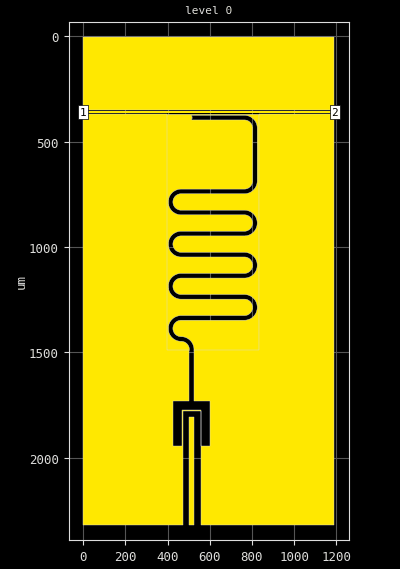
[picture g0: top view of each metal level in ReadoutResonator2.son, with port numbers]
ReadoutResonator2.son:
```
FTYP SONPROJ 15 ! Sonnet Project File
VER 16.52
HEADER
LIC calt2.2.43068 b6ae2bd1257f DESKTOP-SL82IK9 Michael
DAT 07/20/2016 20:02:26
BUILT_BY_CREATED xgeom 16.52 04/11/2016 14:48:12
BUILT_BY_SAVED xgeom 16.52
MDATE 07/20/2016 20:02:26
HDATE 07/20/2016 20:02:26
END HEADER
DIM
FREQ GHZ
IND NH
LNG UM
ANG DEG
CON /OH
CAP PF
RES OH
END DIM
FREQ
ABS 7.0 8.5 
END FREQ
CONTROL
ABS
OPTIONS  -dj 
SPEED 0
CACHE_ABS 1
TARG_ABS 300
Q_ACC Y
DET_ABS_RES Y
END CONTROL
GEO
TMET "Lossless" 0 SUP 0 0 0 0
BMET "Lossless" 0 SUP 0 0 0 0
MET "Unknown_metal" 1 NOR INF 0 0 
BOX 1 1192 2320 1192 2320 20 0
      1000 1 1 0 0 0 0 "Unnamed"
      500 11.9 1 5e-006 0 0 0 "Silicon (intrinsic)"
LORGN 0 2320 U 
POR1 STD
POLY 10 1
1
1 50 0 0 0 0 359 
POR1 STD
POLY 10 1
3
2 50 0 0 0 1191.999909 359 
NUM 5
0 5 -1 N 10 1 1 100 100 0 0 0 Y
1191.999909 354
0 354
0 364
1191.999909 364
1191.999909 354
END
0 5 -1 N 13 1 1 100 100 0 0 0 Y
1191 3
0 3
0 348
1191 348
1191 3
END
0 5 -1 N 14 1 1 100 100 0 0 0 Y
526 1806
502 1806
502 2319
526 2319
526 1806
END
0 2186 -1 T 20 1 1 100 100 0 0 0 Y
834 370
396 370
396 1490
503 1490
503 1488.55
503 1486
503 1485.37
502.98 1484.75
502.96 1484.12
502.92 1483.5
502.88 1482.88
502.82 1482.25
502.76 1481.63
502.68 1481.01
502.6 1480.39
502.5 1479.78
502.4 1479.16
502.28 1478.54
502.16 1477.93
502.02 1477.32
501.88 1476.71
501.73 1476.11
501.56 1475.5
501.39 1474.9
501.21 1474.31
501.01 1473.71
500.81 1473.12
500.6 1472.53
500.38 1471.94
500.15 1471.36
499.91 1470.79
499.66 1470.21
499.4 1469.64
499.14 1469.08
498.86 1468.52
498.58 1467.96
498.28 1467.41
497.98 1466.86
497.67 1466.32
497.35 1465.78
497.02 1465.25
496.69 1464.72
496.34 1464.2
495.99 1463.69
495.63 1463.18
495.26 1462.67
494.88 1462.17
494.49 1461.68
494.1 1461.2
493.7 1460.72
493.29 1460.24
492.87 1459.78
492.45 1459.32
492.02 1458.87
491.58 1458.42
491.13 1457.98
490.68 1457.55
490.22 1457.13
489.76 1456.71
489.28 1456.3
488.8 1455.9
488.32 1455.51
487.82 1455.12
487.33 1454.74
486.82 1454.37
486.31 1454.01
485.8 1453.66
485.28 1453.31
484.75 1452.98
484.22 1452.65
483.68 1452.33
483.14 1452.02
482.59 1451.72
482.04 1451.42
481.48 1451.14
480.92 1450.86
480.36 1450.6
479.79 1450.34
479.21 1450.09
478.64 1449.85
478.06 1449.62
477.47 1449.4
476.88 1449.19
476.29 1448.99
475.69 1448.79
475.1 1448.61
474.5 1448.44
473.89 1448.28
473.29 1448.12
472.68 1447.98
472.07 1447.84
471.46 1447.72
470.84 1447.6
470.23 1447.5
469.61 1447.4
468.99 1447.32
468.37 1447.24
467.75 1447.18
467.12 1447.12
466.5 1447.08
465.88 1447.04
465.25 1447.02
464.63 1447
464 1447
462.05 1446.97
460.09 1446.87
458.14 1446.72
456.2 1446.5
454.26 1446.22
452.34 1445.87
450.43 1445.47
448.53 1445
446.64 1444.48
444.78 1443.89
442.93 1443.25
441.11 1442.54
439.31 1441.78
437.53 1440.96
435.79 1440.08
434.07 1439.15
432.38 1438.16
430.72 1437.12
429.1 1436.03
427.52 1434.89
425.97 1433.69
424.46 1432.45
422.99 1431.16
421.56 1429.82
420.18 1428.44
418.84 1427.01
417.55 1425.54
416.31 1424.03
415.12 1422.48
413.97 1420.9
412.88 1419.28
411.84 1417.62
410.85 1415.93
409.92 1414.21
409.04 1412.47
408.22 1410.69
407.46 1408.89
406.75 1407.07
406.11 1405.22
405.52 1403.35
405 1401.47
404.53 1399.57
404.13 1397.66
403.78 1395.74
403.5 1393.8
403.28 1391.86
403.13 1389.91
403.03 1387.95
403 1386
403.03 1384.04
403.13 1382.09
403.28 1380.14
403.5 1378.2
403.78 1376.26
404.13 1374.34
404.53 1372.43
405 1370.53
405.52 1368.64
406.11 1366.78
406.75 1364.93
407.46 1363.11
408.22 1361.31
409.04 1359.53
409.92 1357.78
410.85 1356.07
411.84 1354.38
412.88 1352.72
413.97 1351.1
415.11 1349.51
416.31 1347.97
417.55 1346.46
418.84 1344.99
420.18 1343.56
421.56 1342.18
422.99 1340.84
424.46 1339.55
425.97 1338.31
427.52 1337.11
429.1 1335.97
430.72 1334.88
432.38 1333.83
434.07 1332.85
435.79 1331.92
437.53 1331.04
439.31 1330.22
441.11 1329.46
442.93 1328.75
444.78 1328.11
446.65 1327.52
448.53 1326.99
450.43 1326.53
452.34 1326.12
454.26 1325.78
456.2 1325.5
458.14 1325.28
460.09 1325.12
462.05 1325.03
464 1325
764 1325
765.25 1324.98
766.5 1324.92
767.74 1324.82
768.99 1324.68
770.22 1324.5
771.45 1324.28
772.68 1324.02
773.89 1323.72
775.1 1323.39
776.29 1323.01
777.47 1322.6
778.64 1322.15
779.79 1321.66
780.92 1321.14
782.04 1320.58
783.14 1319.98
784.22 1319.35
785.28 1318.68
786.31 1317.99
787.33 1317.25
788.32 1316.49
789.28 1315.7
790.22 1314.87
791.13 1314.01
792.02 1313.13
792.87 1312.22
793.7 1311.28
794.49 1310.32
795.26 1309.33
795.99 1308.31
796.69 1307.28
797.35 1306.22
797.98 1305.14
798.58 1304.04
799.14 1302.92
799.66 1301.79
800.15 1300.63
800.6 1299.47
801.01 1298.29
801.39 1297.1
801.72 1295.89
802.02 1294.68
802.28 1293.45
802.5 1292.22
802.68 1290.99
802.82 1289.74
802.92 1288.5
802.98 1287.25
803 1286
802.98 1284.75
802.92 1283.5
802.82 1282.25
802.68 1281.01
802.5 1279.78
802.28 1278.54
802.02 1277.32
801.72 1276.11
801.39 1274.9
801.01 1273.71
800.6 1272.53
800.15 1271.36
799.66 1270.21
799.14 1269.08
798.58 1267.96
797.98 1266.86
797.35 1265.78
796.69 1264.72
795.99 1263.69
795.26 1262.67
794.49 1261.68
793.7 1260.72
792.87 1259.78
792.02 1258.87
791.13 1257.98
790.22 1257.13
789.28 1256.3
788.32 1255.51
787.33 1254.74
786.31 1254.01
785.28 1253.31
784.22 1252.65
783.14 1252.02
782.04 1251.42
780.92 1250.86
779.79 1250.34
778.64 1249.85
777.47 1249.4
776.29 1248.99
775.1 1248.61
773.89 1248.28
772.68 1247.98
771.45 1247.72
770.22 1247.5
768.99 1247.32
767.74 1247.18
766.5 1247.08
765.25 1247.02
764 1247
464 1247
462.05 1246.97
460.09 1246.87
458.14 1246.72
456.2 1246.5
454.26 1246.22
452.34 1245.87
450.43 1245.47
448.53 1245
446.65 1244.48
444.78 1243.89
442.93 1243.25
441.11 1242.54
439.31 1241.78
437.53 1240.96
435.79 1240.08
434.07 1239.15
432.38 1238.16
430.72 1237.12
429.1 1236.03
427.52 1234.89
425.97 1233.69
424.46 1232.45
422.99 1231.16
421.56 1229.82
420.18 1228.44
418.84 1227.01
417.55 1225.54
416.31 1224.03
415.11 1222.48
413.97 1220.9
412.88 1219.28
411.84 1217.62
410.85 1215.93
409.92 1214.21
409.04 1212.47
408.22 1210.69
407.46 1208.89
406.75 1207.07
406.11 1205.22
405.52 1203.36
405 1201.47
404.53 1199.57
404.13 1197.66
403.78 1195.73
403.5 1193.8
403.28 1191.86
403.13 1189.91
403.03 1187.95
403 1186
403.03 1184.04
403.13 1182.09
403.28 1180.14
403.5 1178.2
403.78 1176.26
404.13 1174.34
404.53 1172.43
405 1170.53
405.52 1168.64
406.11 1166.78
406.75 1164.93
407.46 1163.11
408.22 1161.31
409.04 1159.53
409.92 1157.78
410.85 1156.07
411.84 1154.38
412.88 1152.72
413.97 1151.1
415.11 1149.51
416.31 1147.97
417.55 1146.46
418.84 1144.99
420.18 1143.56
421.56 1142.18
422.99 1140.84
424.46 1139.55
425.97 1138.31
427.52 1137.11
429.1 1135.97
430.72 1134.88
432.38 1133.83
434.07 1132.85
435.79 1131.92
437.53 1131.04
439.31 1130.22
441.11 1129.46
442.93 1128.75
444.78 1128.11
446.65 1127.52
448.53 1126.99
450.43 1126.53
452.34 1126.12
454.26 1125.78
456.2 1125.5
458.14 1125.28
460.09 1125.12
462.05 1125.03
464 1125
764 1125
765.25 1124.98
766.5 1124.92
767.74 1124.82
768.99 1124.68
770.22 1124.5
771.45 1124.28
772.68 1124.02
773.89 1123.72
775.1 1123.39
776.29 1123.01
777.47 1122.6
778.64 1122.15
779.79 1121.66
780.92 1121.14
782.04 1120.58
783.14 1119.98
784.22 1119.35
785.28 1118.68
786.31 1117.99
787.33 1117.25
788.32 1116.49
789.28 1115.7
790.22 1114.87
791.13 1114.01
792.02 1113.13
792.87 1112.22
793.7 1111.28
794.49 1110.32
795.26 1109.32
795.99 1108.31
796.68 1107.28
797.35 1106.22
797.98 1105.14
798.58 1104.04
799.14 1102.92
799.66 1101.79
800.15 1100.63
800.6 1099.47
801.01 1098.29
801.39 1097.1
801.72 1095.89
802.02 1094.68
802.28 1093.45
802.5 1092.22
802.68 1090.99
802.82 1089.74
802.92 1088.5
802.98 1087.25
803 1086
802.98 1084.75
802.92 1083.5
802.82 1082.25
802.68 1081.01
802.5 1079.78
802.28 1078.54
802.02 1077.32
801.72 1076.11
801.39 1074.9
801.01 1073.71
800.6 1072.53
800.15 1071.36
799.66 1070.21
799.14 1069.08
798.58 1067.96
797.98 1066.86
797.35 1065.78
796.68 1064.72
795.99 1063.69
795.26 1062.67
794.49 1061.68
793.7 1060.72
792.87 1059.78
792.02 1058.87
791.13 1057.98
790.22 1057.13
789.28 1056.3
788.32 1055.51
787.33 1054.74
786.31 1054.01
785.28 1053.31
784.22 1052.65
783.14 1052.02
782.04 1051.42
780.92 1050.86
779.79 1050.34
778.64 1049.85
777.47 1049.4
776.29 1048.99
775.1 1048.61
773.89 1048.28
772.68 1047.98
771.45 1047.72
770.22 1047.5
768.99 1047.32
767.74 1047.18
766.5 1047.08
765.25 1047.02
764 1047
464 1047
462.05 1046.97
460.09 1046.87
458.14 1046.72
456.2 1046.5
454.27 1046.22
452.34 1045.87
450.43 1045.47
448.53 1045
446.65 1044.48
444.78 1043.89
442.93 1043.25
441.11 1042.54
439.31 1041.78
437.53 1040.96
435.79 1040.08
434.07 1039.15
432.38 1038.16
430.72 1037.12
429.1 1036.03
427.52 1034.89
425.97 1033.69
424.46 1032.45
422.99 1031.16
421.56 1029.82
420.18 1028.44
418.84 1027.01
417.55 1025.54
416.31 1024.03
415.11 1022.48
413.97 1020.9
412.88 1019.28
411.84 1017.62
410.85 1015.93
409.92 1014.21
409.04 1012.47
408.22 1010.69
407.46 1008.89
406.75 1007.07
406.11 1005.22
405.52 1003.35
405 1001.47
404.53 999.57
404.13 997.66
403.78 995.74
403.5 993.8
403.28 991.86
403.13 989.91
403.03 987.95
403 986
403.03 984.04
403.13 982.09
403.28 980.14
403.5 978.2
403.78 976.26
404.13 974.34
404.53 972.43
405 970.53
405.52 968.64
406.11 966.78
406.75 964.93
407.46 963.11
408.22 961.31
409.04 959.53
409.92 957.78
410.85 956.07
411.84 954.38
412.88 952.72
413.97 951.1
415.11 949.51
416.31 947.97
417.55 946.46
418.84 944.99
420.18 943.56
421.56 942.18
422.99 940.84
424.46 939.55
425.97 938.31
427.52 937.11
429.1 935.97
430.72 934.88
432.38 933.83
434.07 932.85
435.79 931.92
437.53 931.04
439.31 930.22
441.11 929.46
442.93 928.75
444.78 928.11
446.65 927.52
448.53 926.99
450.43 926.53
452.34 926.12
454.27 925.78
456.2 925.5
458.14 925.28
460.09 925.12
462.05 925.03
464 925
764 925
765.25 924.98
766.5 924.92
767.74 924.82
768.99 924.68
770.22 924.5
771.45 924.28
772.68 924.02
773.89 923.72
775.1 923.39
776.29 923.01
777.47 922.6
778.64 922.15
779.79 921.66
780.92 921.14
782.04 920.58
783.14 919.98
784.22 919.35
785.28 918.68
786.31 917.99
787.33 917.25
788.32 916.49
789.28 915.7
790.22 914.87
791.13 914.01
792.02 913.13
792.87 912.22
793.7 911.28
794.49 910.32
795.26 909.33
795.99 908.31
796.69 907.28
797.35 906.22
797.98 905.14
798.58 904.04
799.14 902.92
799.66 901.79
800.15 900.63
800.6 899.47
801.01 898.29
801.39 897.1
801.72 895.89
802.02 894.68
802.28 893.45
802.5 892.22
802.68 890.99
802.82 889.74
802.92 888.5
802.98 887.25
803 886
802.98 884.75
802.92 883.5
802.82 882.25
802.68 881.01
802.5 879.78
802.28 878.54
802.02 877.32
801.72 876.11
801.39 874.9
801.01 873.71
800.6 872.53
800.15 871.36
799.66 870.21
799.14 869.08
798.58 867.96
797.98 866.86
797.35 865.78
796.69 864.72
795.99 863.69
795.26 862.67
794.49 861.68
793.7 860.72
792.87 859.78
792.02 858.87
791.13 857.98
790.22 857.13
789.28 856.3
788.32 855.51
787.33 854.74
786.31 854.01
785.28 853.31
784.22 852.65
783.14 852.02
782.04 851.42
780.92 850.86
779.79 850.34
778.64 849.85
777.47 849.4
776.29 848.99
775.1 848.61
773.89 848.28
772.68 847.98
771.45 847.72
770.22 847.5
768.99 847.32
767.74 847.18
766.5 847.08
765.25 847.02
764 847
464 847
462.05 846.97
460.09 846.87
458.14 846.72
456.2 846.5
454.26 846.22
452.34 845.87
450.43 845.47
448.53 845
446.65 844.48
444.78 843.89
442.93 843.25
441.11 842.54
439.31 841.78
437.53 840.96
435.79 840.08
434.07 839.15
432.38 838.16
430.72 837.12
429.1 836.03
427.52 834.88
425.97 833.69
424.46 832.45
422.99 831.16
421.56 829.82
420.18 828.44
418.84 827.01
417.55 825.54
416.31 824.03
415.11 822.48
413.97 820.9
412.88 819.28
411.84 817.62
410.85 815.93
409.92 814.21
409.04 812.47
408.22 810.69
407.46 808.89
406.75 807.07
406.11 805.22
405.52 803.35
405 801.47
404.53 799.57
404.13 797.66
403.78 795.74
403.5 793.8
403.28 791.86
403.13 789.91
403.03 787.95
403 786
403.03 784.04
403.13 782.09
403.28 780.14
403.5 778.2
403.78 776.26
404.13 774.34
404.53 772.42
405 770.53
405.52 768.64
406.11 766.78
406.75 764.93
407.46 763.11
408.22 761.31
409.04 759.53
409.92 757.78
410.85 756.07
411.84 754.38
412.88 752.72
413.97 751.1
415.11 749.51
416.31 747.97
417.55 746.46
418.84 744.99
420.18 743.56
421.56 742.18
422.99 740.84
424.46 739.55
425.97 738.31
427.52 737.11
429.1 735.97
430.72 734.88
432.38 733.83
434.07 732.85
435.79 731.92
437.53 731.04
439.31 730.22
441.11 729.46
442.93 728.75
444.78 728.11
446.65 727.52
448.53 726.99
450.43 726.53
452.34 726.12
454.26 725.78
456.2 725.5
458.14 725.28
460.09 725.12
462.05 725.03
464 725
764 725
764.63 724.99
765.25 724.98
765.87 724.95
766.5 724.92
767.12 724.87
767.74 724.82
768.37 724.75
768.99 724.68
769.61 724.59
770.22 724.5
770.84 724.39
771.45 724.28
772.07 724.16
772.68 724.02
773.29 723.88
773.89 723.72
774.5 723.56
775.1 723.39
775.69 723.2
776.29 723.01
776.88 722.81
777.47 722.6
778.05 722.38
778.64 722.15
779.21 721.91
779.79 721.66
780.36 721.4
780.92 721.14
781.48 720.86
782.04 720.58
782.59 720.28
783.14 719.98
783.68 719.67
784.22 719.35
784.75 719.02
785.28 718.68
785.8 718.34
786.31 717.99
786.82 717.62
787.33 717.25
787.82 716.88
788.32 716.49
788.8 716.1
789.28 715.7
789.75 715.29
790.22 714.87
790.68 714.45
791.13 714.02
791.58 713.58
792.02 713.13
792.45 712.68
792.87 712.22
793.29 711.75
793.7 711.28
794.1 710.8
794.49 710.32
794.88 709.82
795.26 709.32
795.63 708.82
795.99 708.31
796.34 707.8
796.69 707.27
797.02 706.75
797.35 706.22
797.67 705.68
797.98 705.14
798.28 704.59
798.58 704.04
798.86 703.48
799.14 702.92
799.4 702.35
799.66 701.79
799.91 701.21
800.15 700.63
800.38 700.05
800.6 699.47
800.81 698.88
801.01 698.29
801.2 697.69
801.39 697.1
801.56 696.49
801.72 695.89
801.88 695.29
802.02 694.68
802.16 694.07
802.28 693.45
802.39 692.84
802.5 692.22
802.6 691.61
802.68 690.99
802.76 690.37
802.82 689.74
802.88 689.12
802.92 688.5
802.95 687.87
802.98 687.25
802.99 686.62
803 686
803 683.45
803 680.9
803 678.35
803 675.79
803 673.24
803 670.69
803 668.14
803 665.59
803 663.04
803 660.49
803 657.94
803 655.39
803 652.84
803 650.28
803 647.73
803 645.18
803 642.63
803 640.08
803 637.53
803 634.98
803 632.43
803 629.88
803 627.33
803 624.78
803 622.22
803 619.67
803 617.12
803 614.57
803 612.02
803 609.47
803 606.92
803 604.37
803 601.82
803 599.26
803 596.71
803 594.16
803 591.61
803 589.06
803 586.51
803 583.96
803 581.41
803 578.86
803 576.3
803 573.75
803 571.2
803 568.65
803 566.1
803 563.55
803 561
803 558.45
803 555.9
803 553.35
803 550.79
803 548.24
803 545.69
803 543.14
803 540.59
803 538.04
803 535.49
803 532.94
803 530.39
803 527.84
803 525.28
803 522.73
803 520.18
803 517.63
803 515.08
803 512.53
803 509.98
803 507.43
803 504.88
803 502.33
803 499.78
803 497.22
803 494.67
803 492.12
803 489.57
803 487.02
803 484.47
803 481.92
803 479.37
803 476.82
803 474.26
803 471.71
803 469.16
803 466.61
803 464.06
803 461.51
803 458.96
803 456.41
803 453.86
803 451.31
803 448.75
803 446.2
803 443.65
803 441.1
803 438.55
803 436
802.99 435.37
802.98 434.75
802.95 434.12
802.92 433.5
802.88 432.88
802.82 432.25
802.76 431.63
802.68 431.01
802.6 430.39
802.5 429.77
802.4 429.16
802.28 428.54
802.16 427.93
802.02 427.32
801.88 426.71
801.72 426.11
801.56 425.5
801.39 424.9
801.2 424.3
801.01 423.71
800.81 423.12
800.6 422.53
800.38 421.95
800.15 421.36
799.91 420.79
799.66 420.21
799.4 419.64
799.14 419.08
798.86 418.52
798.58 417.96
798.28 417.41
797.98 416.86
797.67 416.32
797.35 415.78
797.02 415.25
796.68 414.72
796.34 414.2
795.99 413.69
795.63 413.18
795.26 412.67
794.88 412.17
794.49 411.68
794.1 411.2
793.7 410.72
793.29 410.24
792.87 409.78
792.45 409.32
792.02 408.87
791.58 408.42
791.13 407.98
790.68 407.55
790.22 407.13
789.75 406.71
789.28 406.3
788.8 405.9
788.32 405.51
787.82 405.12
787.33 404.74
786.82 404.37
786.31 404.01
785.8 403.66
785.28 403.31
784.75 402.98
784.22 402.65
783.68 402.33
783.14 402.02
782.59 401.72
782.04 401.42
781.48 401.14
780.92 400.86
780.36 400.6
779.79 400.34
779.21 400.09
778.63 399.85
778.05 399.62
777.47 399.4
776.88 399.19
776.29 398.99
775.69 398.79
775.1 398.61
774.5 398.44
773.89 398.27
773.29 398.12
772.68 397.98
772.07 397.84
771.45 397.72
770.84 397.6
770.22 397.5
769.61 397.4
768.99 397.32
768.37 397.24
767.74 397.18
767.12 397.12
766.5 397.08
765.88 397.04
765.25 397.02
764.63 397
514 397
514 391
516 391
516 381
514 381
514 375
764 375
764.98 375.01
765.95 375.03
766.93 375.07
767.91 375.13
768.88 375.2
769.86 375.28
770.83 375.38
771.8 375.5
772.77 375.63
773.74 375.78
774.7 375.95
775.66 376.12
776.62 376.32
777.57 376.53
778.52 376.76
779.47 376.99
780.42 377.25
781.36 377.52
782.29 377.81
783.22 378.11
784.15 378.42
785.07 378.75
785.98 379.1
786.89 379.46
787.8 379.83
788.69 380.22
789.58 380.62
790.47 381.04
791.34 381.47
792.22 381.92
793.08 382.38
793.93 382.85
794.78 383.34
795.62 383.84
796.45 384.35
797.28 384.88
798.09 385.42
798.9 385.97
799.7 386.53
800.48 387.11
801.26 387.7
802.03 388.31
802.79 388.92
803.54 389.55
804.28 390.19
805.01 390.84
805.73 391.51
806.44 392.18
807.13 392.86
807.82 393.56
808.49 394.27
809.16 394.99
809.81 395.72
810.45 396.46
811.08 397.21
811.69 397.97
812.3 398.73
812.89 399.51
813.47 400.3
814.03 401.1
814.58 401.91
815.12 402.72
815.65 403.54
816.16 404.38
816.66 405.22
817.15 406.07
817.62 406.92
818.08 407.78
818.53 408.65
818.96 409.53
819.38 410.42
819.78 411.31
820.17 412.2
820.54 413.11
820.9 414.02
821.25 414.93
821.58 415.85
821.89 416.78
822.19 417.71
822.48 418.64
822.75 419.58
823.01 420.53
823.24 421.47
823.47 422.42
823.68 423.38
823.88 424.34
824.05 425.3
824.22 426.26
824.37 427.23
824.5 428.2
824.62 429.17
824.72 430.14
824.8 431.12
824.88 432.09
824.93 433.07
824.97 434.04
824.99 435.02
825 436
825 438.55
825 441.1
825 443.65
825 446.2
825 448.75
825 451.3
825 453.86
825 456.41
825 458.96
825 461.51
825 464.06
825 466.61
825 469.16
825 471.71
825 474.26
825 476.82
825 479.37
825 481.92
825 484.47
825 487.02
825 489.57
825 492.12
825 494.67
825 497.22
825 499.77
825 502.33
825 504.88
825 507.43
825 509.98
825 512.53
825 515.08
825 517.63
825 520.18
825 522.73
825 525.28
825 527.84
825 530.39
825 532.94
825 535.49
825 538.04
825 540.59
825 543.14
825 545.69
825 548.24
825 550.79
825 553.35
825 555.9
825 558.45
825 561
825 563.55
825 566.1
825 568.65
825 571.2
825 573.75
825 576.3
825 578.86
825 581.41
825 583.96
825 586.51
825 589.06
825 591.61
825 594.16
825 596.71
825 599.26
825 601.82
825 604.37
825 606.92
825 609.47
825 612.02
825 614.57
825 617.12
825 619.67
825 622.22
825 624.77
825 627.33
825 629.88
825 632.43
825 634.98
825 637.53
825 640.08
825 642.63
825 645.18
825 647.73
825 650.28
825 652.84
825 655.39
825 657.94
825 660.49
825 663.04
825 665.59
825 668.14
825 670.69
825 673.24
825 675.79
825 678.35
825 680.9
825 683.45
825 686
824.99 686.98
824.97 687.95
824.93 688.93
824.87 689.91
824.8 690.88
824.72 691.86
824.62 692.83
824.5 693.8
824.37 694.77
824.22 695.74
824.05 696.7
823.88 697.66
823.68 698.62
823.47 699.57
823.24 700.52
823.01 701.47
822.75 702.42
822.48 703.35
822.19 704.29
821.89 705.22
821.58 706.15
821.25 707.07
820.9 707.98
820.54 708.89
820.17 709.79
819.78 710.69
819.38 711.58
818.96 712.47
818.53 713.34
818.08 714.21
817.62 715.08
817.15 715.93
816.66 716.78
816.16 717.62
815.65 718.45
815.12 719.28
814.58 720.09
814.03 720.9
813.47 721.7
812.89 722.48
812.29 723.26
811.69 724.03
811.08 724.79
810.45 725.54
809.81 726.28
809.16 727.01
808.49 727.73
807.82 728.44
807.13 729.13
806.44 729.82
805.73 730.49
805.01 731.16
804.28 731.81
803.54 732.45
802.79 733.07
802.03 733.69
801.26 734.29
800.48 734.89
799.7 735.46
798.9 736.03
798.09 736.58
797.28 737.12
796.45 737.65
795.62 738.16
794.78 738.66
793.93 739.15
793.08 739.62
792.21 740.08
791.34 740.53
790.47 740.96
789.58 741.37
788.69 741.78
787.8 742.17
786.89 742.54
785.98 742.9
785.07 743.25
784.15 743.58
783.22 743.89
782.29 744.19
781.36 744.48
780.42 744.75
779.47 745
778.52 745.24
777.57 745.47
776.62 745.68
775.66 745.87
774.7 746.05
773.74 746.22
772.77 746.36
771.8 746.5
770.83 746.61
769.86 746.72
768.88 746.8
767.91 746.87
766.93 746.93
765.95 746.97
764.98 746.99
764 747
464 747
462.75 747.02
461.5 747.08
460.26 747.18
459.01 747.32
457.78 747.5
456.55 747.72
455.32 747.98
454.11 748.28
452.9 748.61
451.71 748.99
450.53 749.4
449.37 749.85
448.21 750.34
447.08 750.86
445.96 751.42
444.86 752.02
443.78 752.65
442.73 753.31
441.69 754.01
440.67 754.74
439.68 755.51
438.72 756.3
437.78 757.13
436.87 757.98
435.99 758.87
435.13 759.78
434.3 760.72
433.51 761.68
432.75 762.67
432.01 763.69
431.32 764.72
430.65 765.78
430.02 766.86
429.42 767.96
428.86 769.08
428.34 770.21
427.85 771.36
427.4 772.53
426.99 773.71
426.61 774.9
426.28 776.11
425.98 777.32
425.72 778.54
425.5 779.78
425.32 781.01
425.18 782.25
425.08 783.5
425.02 784.75
425 786
425.02 787.25
425.08 788.5
425.18 789.74
425.32 790.99
425.5 792.22
425.72 793.45
425.98 794.68
426.28 795.89
426.61 797.1
426.99 798.29
427.4 799.47
427.85 800.63
428.34 801.79
428.86 802.92
429.42 804.04
430.02 805.14
430.65 806.22
431.32 807.28
432.01 808.31
432.75 809.32
433.51 810.32
434.31 811.28
435.13 812.22
435.99 813.13
436.87 814.01
437.78 814.87
438.72 815.7
439.69 816.49
440.68 817.25
441.69 817.99
442.73 818.68
443.78 819.35
444.86 819.98
445.96 820.58
447.08 821.14
448.21 821.66
449.37 822.15
450.53 822.6
451.71 823.01
452.9 823.39
454.11 823.72
455.32 824.02
456.55 824.28
457.78 824.5
459.01 824.68
460.26 824.82
461.5 824.92
462.75 824.98
464 825
764 825
765.95 825.03
767.91 825.12
769.86 825.28
771.8 825.5
773.74 825.78
775.66 826.12
777.57 826.53
779.47 826.99
781.36 827.52
783.22 828.11
785.07 828.75
786.89 829.46
788.69 830.22
790.47 831.04
792.22 831.92
793.93 832.85
795.62 833.83
797.28 834.88
798.9 835.97
800.48 837.11
802.03 838.31
803.54 839.55
805.01 840.84
806.44 842.18
807.82 843.56
809.16 844.99
810.45 846.46
811.69 847.97
812.89 849.51
814.03 851.1
815.12 852.72
816.16 854.38
817.15 856.06
818.08 857.78
818.96 859.53
819.78 861.31
820.54 863.11
821.25 864.93
821.89 866.78
822.48 868.64
823.01 870.53
823.47 872.43
823.88 874.34
824.22 876.26
824.5 878.2
824.72 880.14
824.88 882.09
824.97 884.04
825 886
824.97 887.95
824.88 889.91
824.72 891.86
824.5 893.8
824.22 895.73
823.88 897.66
823.47 899.57
823.01 901.47
822.48 903.35
821.89 905.22
821.25 907.07
820.54 908.89
819.78 910.69
818.96 912.47
818.08 914.21
817.15 915.93
816.16 917.62
815.12 919.28
814.03 920.9
812.89 922.48
811.69 924.03
810.45 925.54
809.16 927.01
807.82 928.44
806.44 929.82
805.01 931.16
803.54 932.45
802.03 933.69
800.48 934.88
798.9 936.03
797.28 937.12
795.62 938.16
793.93 939.15
792.22 940.08
790.47 940.96
788.69 941.78
786.89 942.54
785.07 943.25
783.22 943.89
781.36 944.48
779.47 945
777.57 945.47
775.66 945.87
773.74 946.22
771.8 946.5
769.86 946.72
767.91 946.87
765.96 946.97
764 947
464 947
462.75 947.02
461.5 947.08
460.26 947.18
459.01 947.32
457.78 947.5
456.55 947.72
455.32 947.98
454.11 948.27
452.9 948.61
451.71 948.99
450.53 949.4
449.37 949.85
448.21 950.34
447.08 950.86
445.96 951.42
444.86 952.02
443.78 952.65
442.73 953.31
441.69 954.01
440.67 954.74
439.68 955.51
438.72 956.3
437.78 957.13
436.87 957.98
435.98 958.87
435.13 959.78
434.31 960.72
433.51 961.68
432.75 962.67
432.01 963.69
431.32 964.72
430.65 965.78
430.02 966.86
429.42 967.96
428.86 969.08
428.34 970.21
427.85 971.36
427.4 972.53
426.99 973.71
426.61 974.9
426.28 976.11
425.98 977.32
425.72 978.54
425.5 979.77
425.32 981.01
425.18 982.25
425.08 983.5
425.02 984.75
425 986
425.02 987.25
425.08 988.5
425.18 989.74
425.32 990.99
425.5 992.22
425.72 993.45
425.98 994.68
426.28 995.89
426.61 997.1
426.99 998.29
427.4 999.47
427.85 1000.63
428.34 1001.79
428.86 1002.92
429.42 1004.04
430.02 1005.14
430.65 1006.22
431.32 1007.27
432.01 1008.31
432.75 1009.32
433.51 1010.32
434.31 1011.28
435.13 1012.22
435.99 1013.13
436.87 1014.01
437.78 1014.87
438.72 1015.69
439.68 1016.49
440.67 1017.25
441.69 1017.99
442.73 1018.68
443.78 1019.35
444.86 1019.98
445.96 1020.58
447.08 1021.14
448.21 1021.66
449.37 1022.15
450.53 1022.6
451.71 1023.01
452.9 1023.39
454.11 1023.72
455.32 1024.02
456.55 1024.28
457.78 1024.5
459.01 1024.68
460.26 1024.82
461.5 1024.92
462.75 1024.98
464 1025
764 1025
765.95 1025.03
767.91 1025.12
769.86 1025.28
771.8 1025.5
773.74 1025.78
775.66 1026.12
777.57 1026.53
779.47 1026.99
781.36 1027.52
783.22 1028.11
785.07 1028.75
786.89 1029.46
788.69 1030.22
790.47 1031.04
792.22 1031.92
793.93 1032.85
795.62 1033.83
797.28 1034.88
798.9 1035.97
800.49 1037.11
802.03 1038.31
803.54 1039.55
805.01 1040.84
806.44 1042.18
807.82 1043.56
809.16 1044.99
810.45 1046.46
811.69 1047.97
812.89 1049.51
814.03 1051.1
815.12 1052.72
816.16 1054.38
817.15 1056.07
818.08 1057.78
818.96 1059.53
819.78 1061.31
820.54 1063.11
821.25 1064.93
821.89 1066.78
822.48 1068.64
823.01 1070.53
823.47 1072.43
823.88 1074.34
824.22 1076.26
824.5 1078.2
824.72 1080.14
824.88 1082.09
824.97 1084.04
825 1086
824.97 1087.95
824.88 1089.91
824.72 1091.86
824.5 1093.8
824.22 1095.74
823.88 1097.66
823.47 1099.57
823.01 1101.47
822.48 1103.35
821.89 1105.22
821.25 1107.07
820.54 1108.89
819.78 1110.69
818.96 1112.47
818.08 1114.21
817.15 1115.93
816.16 1117.62
815.12 1119.28
814.03 1120.9
812.89 1122.48
811.69 1124.03
810.45 1125.54
809.16 1127.01
807.82 1128.44
806.44 1129.82
805.01 1131.16
803.54 1132.45
802.03 1133.69
800.48 1134.88
798.9 1136.03
797.28 1137.12
795.62 1138.16
793.93 1139.15
792.22 1140.08
790.47 1140.96
788.69 1141.78
786.89 1142.54
785.07 1143.25
783.22 1143.89
781.36 1144.48
779.47 1145
777.57 1145.47
775.66 1145.87
773.74 1146.22
771.8 1146.5
769.86 1146.72
767.91 1146.87
765.95 1146.97
764 1147
464 1147
462.75 1147.02
461.5 1147.08
460.26 1147.18
459.01 1147.32
457.78 1147.5
456.55 1147.72
455.32 1147.98
454.11 1148.27
452.9 1148.61
451.71 1148.99
450.53 1149.4
449.37 1149.85
448.21 1150.34
447.08 1150.86
445.96 1151.42
444.86 1152.02
443.78 1152.65
442.73 1153.31
441.69 1154.01
440.67 1154.74
439.68 1155.51
438.72 1156.3
437.78 1157.13
436.87 1157.98
435.99 1158.87
435.13 1159.78
434.31 1160.72
433.51 1161.68
432.75 1162.67
432.01 1163.69
431.32 1164.72
430.65 1165.78
430.02 1166.86
429.42 1167.96
428.86 1169.08
428.34 1170.21
427.85 1171.36
427.4 1172.53
426.99 1173.71
426.61 1174.9
426.28 1176.11
425.98 1177.32
425.72 1178.54
425.5 1179.77
425.32 1181.01
425.18 1182.25
425.08 1183.5
425.02 1184.75
425 1186
425.02 1187.25
425.08 1188.5
425.18 1189.74
425.32 1190.99
425.5 1192.22
425.72 1193.45
425.98 1194.68
426.28 1195.89
426.61 1197.1
426.99 1198.29
427.4 1199.47
427.85 1200.63
428.34 1201.79
428.86 1202.92
429.42 1204.04
430.02 1205.14
430.65 1206.22
431.32 1207.28
432.01 1208.31
432.75 1209.32
433.51 1210.31
434.31 1211.28
435.13 1212.22
435.98 1213.13
436.87 1214.02
437.78 1214.87
438.72 1215.69
439.68 1216.49
440.67 1217.25
441.69 1217.99
442.72 1218.68
443.78 1219.35
444.86 1219.98
445.96 1220.58
447.08 1221.14
448.21 1221.66
449.37 1222.15
450.53 1222.6
451.71 1223.01
452.9 1223.39
454.11 1223.72
455.32 1224.02
456.55 1224.28
457.78 1224.5
459.01 1224.68
460.26 1224.82
461.5 1224.92
462.75 1224.98
464 1225
764 1225
765.95 1225.03
767.91 1225.12
769.86 1225.28
771.8 1225.5
773.74 1225.78
775.66 1226.12
777.57 1226.53
779.47 1226.99
781.36 1227.52
783.22 1228.11
785.07 1228.75
786.89 1229.46
788.69 1230.22
790.47 1231.04
792.22 1231.92
793.93 1232.85
795.62 1233.83
797.28 1234.88
798.9 1235.97
800.48 1237.11
802.03 1238.31
803.54 1239.55
805.01 1240.84
806.44 1242.18
807.82 1243.56
809.16 1244.99
810.45 1246.46
811.69 1247.97
812.89 1249.51
814.03 1251.1
815.12 1252.72
816.16 1254.38
817.15 1256.07
818.08 1257.78
818.96 1259.53
819.78 1261.31
820.54 1263.11
821.25 1264.93
821.89 1266.78
822.48 1268.64
823.01 1270.53
823.47 1272.43
823.87 1274.34
824.22 1276.26
824.5 1278.2
824.72 1280.14
824.87 1282.09
824.97 1284.04
825 1286
824.97 1287.95
824.88 1289.91
824.72 1291.86
824.5 1293.8
824.22 1295.74
823.88 1297.66
823.47 1299.57
823.01 1301.47
822.48 1303.35
821.89 1305.22
821.25 1307.07
820.54 1308.89
819.78 1310.69
818.96 1312.47
818.08 1314.21
817.15 1315.93
816.16 1317.62
815.12 1319.28
814.03 1320.9
812.89 1322.48
811.69 1324.03
810.45 1325.54
809.16 1327.01
807.82 1328.44
806.44 1329.82
805.01 1331.16
803.54 1332.45
802.03 1333.69
800.48 1334.88
798.9 1336.03
797.28 1337.12
795.62 1338.16
793.93 1339.15
792.22 1340.08
790.47 1340.96
788.69 1341.78
786.89 1342.54
785.07 1343.25
783.22 1343.89
781.36 1344.48
779.47 1345
777.57 1345.47
775.66 1345.87
773.74 1346.22
771.8 1346.5
769.86 1346.72
767.91 1346.87
765.95 1346.97
764 1347
464 1347
462.75 1347.02
461.5 1347.08
460.26 1347.18
459.01 1347.32
457.78 1347.5
456.55 1347.72
455.32 1347.98
454.11 1348.28
452.9 1348.61
451.71 1348.99
450.53 1349.4
449.37 1349.85
448.21 1350.34
447.08 1350.86
445.96 1351.42
444.86 1352.02
443.78 1352.65
442.73 1353.31
441.69 1354.01
440.67 1354.74
439.68 1355.51
438.72 1356.3
437.78 1357.13
436.87 1357.98
435.99 1358.87
435.13 1359.78
434.31 1360.72
433.51 1361.68
432.75 1362.67
432.01 1363.69
431.32 1364.72
430.65 1365.78
430.02 1366.86
429.42 1367.96
428.86 1369.08
428.34 1370.21
427.85 1371.36
427.4 1372.53
426.99 1373.71
426.61 1374.9
426.28 1376.11
425.98 1377.32
425.72 1378.54
425.5 1379.78
425.32 1381.01
425.18 1382.25
425.08 1383.5
425.02 1384.75
425 1386
425.02 1387.25
425.08 1388.5
425.18 1389.74
425.32 1390.99
425.5 1392.22
425.72 1393.45
425.98 1394.68
426.28 1395.89
426.61 1397.1
426.99 1398.29
427.4 1399.47
427.85 1400.63
428.34 1401.79
428.86 1402.92
429.42 1404.04
430.02 1405.14
430.65 1406.22
431.32 1407.27
432.01 1408.31
432.75 1409.33
433.51 1410.32
434.3 1411.28
435.13 1412.22
435.99 1413.13
436.87 1414.02
437.78 1414.87
438.72 1415.7
439.68 1416.49
440.67 1417.25
441.69 1417.99
442.73 1418.68
443.78 1419.35
444.86 1419.98
445.96 1420.58
447.08 1421.14
448.21 1421.66
449.37 1422.15
450.53 1422.6
451.71 1423.01
452.9 1423.39
454.11 1423.72
455.32 1424.02
456.55 1424.28
457.78 1424.5
459.01 1424.68
460.26 1424.82
461.5 1424.92
462.75 1424.98
464 1425
464.98 1425.01
465.96 1425.03
466.93 1425.07
467.91 1425.12
468.88 1425.2
469.86 1425.28
470.83 1425.38
471.8 1425.5
472.77 1425.63
473.74 1425.78
474.7 1425.94
475.66 1426.12
476.62 1426.32
477.58 1426.53
478.53 1426.75
479.47 1426.99
480.42 1427.25
481.36 1427.52
482.29 1427.81
483.22 1428.11
484.15 1428.42
485.07 1428.75
485.98 1429.1
486.89 1429.46
487.8 1429.83
488.69 1430.22
489.58 1430.62
490.47 1431.04
491.34 1431.47
492.22 1431.92
493.08 1432.38
493.93 1432.85
494.78 1433.33
495.62 1433.83
496.45 1434.35
497.28 1434.88
498.09 1435.42
498.9 1435.97
499.7 1436.53
500.49 1437.11
501.26 1437.7
502.03 1438.31
502.79 1438.92
503.54 1439.55
504.28 1440.19
505.01 1440.84
505.73 1441.5
506.44 1442.18
507.14 1442.86
507.82 1443.56
508.5 1444.27
509.16 1444.99
509.81 1445.72
510.45 1446.46
511.08 1447.21
511.69 1447.97
512.3 1448.74
512.89 1449.51
513.47 1450.3
514.03 1451.1
514.58 1451.91
515.12 1452.72
515.65 1453.55
516.16 1454.38
516.66 1455.22
517.15 1456.07
517.62 1456.92
518.08 1457.78
518.53 1458.65
518.96 1459.53
519.38 1460.42
519.78 1461.31
520.17 1462.2
520.54 1463.11
520.9 1464.02
521.25 1464.93
521.58 1465.85
521.89 1466.78
522.19 1467.71
522.48 1468.64
522.75 1469.58
523.01 1470.53
523.24 1471.47
523.47 1472.42
523.68 1473.38
523.88 1474.34
524.05 1475.3
524.22 1476.26
524.37 1477.23
524.5 1478.2
524.62 1479.17
524.72 1480.14
524.8 1481.12
524.88 1482.09
524.93 1483.07
524.97 1484.04
524.99 1485.02
525 1486
525 1488.55
525 1490
834 1490
834 370
END
0 218 -1 N 27 1 1 100 100 0 0 0 Y
1191 1490
1191 686
1191 436
1191 370
834 370
834 1490
525 1490
525 1491.1
525 1493.65
525 1496.2
525 1498.75
525 1501.31
525 1503.86
525 1506.41
525 1508.96
525 1511.51
525 1514.06
525 1516.61
525 1519.16
525 1521.71
525 1524.26
525 1526.82
525 1529.37
525 1531.92
525 1534.47
525 1537.02
525 1539.57
525 1542.12
525 1544.67
525 1547.22
525 1549.78
525 1552.33
525 1554.88
525 1557.43
525 1559.98
525 1562.53
525 1565.08
525 1567.63
525 1570.18
525 1572.73
525 1575.28
525 1577.84
525 1580.39
525 1582.94
525 1585.49
525 1588.04
525 1590.59
525 1593.14
525 1595.69
525 1598.24
525 1600.8
525 1603.35
525 1605.9
525 1608.45
525 1611
525 1613.55
525 1616.1
525 1618.65
525 1621.2
525 1623.75
525 1626.31
525 1628.86
525 1631.41
525 1633.96
525 1636.51
525 1639.06
525 1641.61
525 1644.16
525 1646.71
525 1649.26
525 1651.82
525 1654.37
525 1656.92
525 1659.47
525 1662.02
525 1664.57
525 1667.12
525 1669.67
525 1672.22
525 1674.77
525 1677.33
525 1679.88
525 1682.43
525 1684.98
525 1687.53
525 1690.08
525 1692.63
525 1695.18
525 1697.73
525 1700.28
525 1702.84
525 1705.39
525 1707.94
525 1710.49
525 1713.04
525 1715.59
525 1718.14
525 1720.69
525 1723.24
525 1725.8
525 1728.35
525 1730
602 1730
602 1942
558 1942
558 1774
470 1774
470 1942
426 1942
426 1730
503 1730
503 1728.35
503 1725.8
503 1723.24
503 1720.69
503 1718.14
503 1715.59
503 1713.04
503 1710.49
503 1707.94
503 1705.39
503 1702.84
503 1700.28
503 1697.73
503 1695.18
503 1692.63
503 1690.08
503 1687.53
503 1684.98
503 1682.43
503 1679.88
503 1677.33
503 1674.78
503 1672.22
503 1669.67
503 1667.12
503 1664.57
503 1662.02
503 1659.47
503 1656.92
503 1654.37
503 1651.81
503 1649.26
503 1646.71
503 1644.16
503 1641.61
503 1639.06
503 1636.51
503 1633.96
503 1631.41
503 1628.86
503 1626.31
503 1623.75
503 1621.2
503 1618.65
503 1616.1
503 1613.55
503 1611
503 1608.45
503 1605.9
503 1603.35
503 1600.8
503 1598.24
503 1595.69
503 1593.14
503 1590.59
503 1588.04
503 1585.49
503 1582.94
503 1580.39
503 1577.84
503 1575.28
503 1572.73
503 1570.18
503 1567.63
503 1565.08
503 1562.53
503 1559.98
503 1557.43
503 1554.88
503 1552.33
503 1549.77
503 1547.22
503 1544.67
503 1542.12
503 1539.57
503 1537.02
503 1534.47
503 1531.92
503 1529.37
503 1526.81
503 1524.26
503 1521.71
503 1519.16
503 1516.61
503 1514.06
503 1511.51
503 1508.96
503 1506.41
503 1503.86
503 1501.3
503 1498.75
503 1496.2
503 1493.65
503 1491.1
503 1490
396 1490
396 370
0 370
0 1490
0 2319
472 2319
472 1776
556 1776
556 1942
556 2319
1191 2319
1191 1490
END
END GEO
OPT
MAX 100
VARS
END
END OPT
VARSWP
END VARSWP
```
